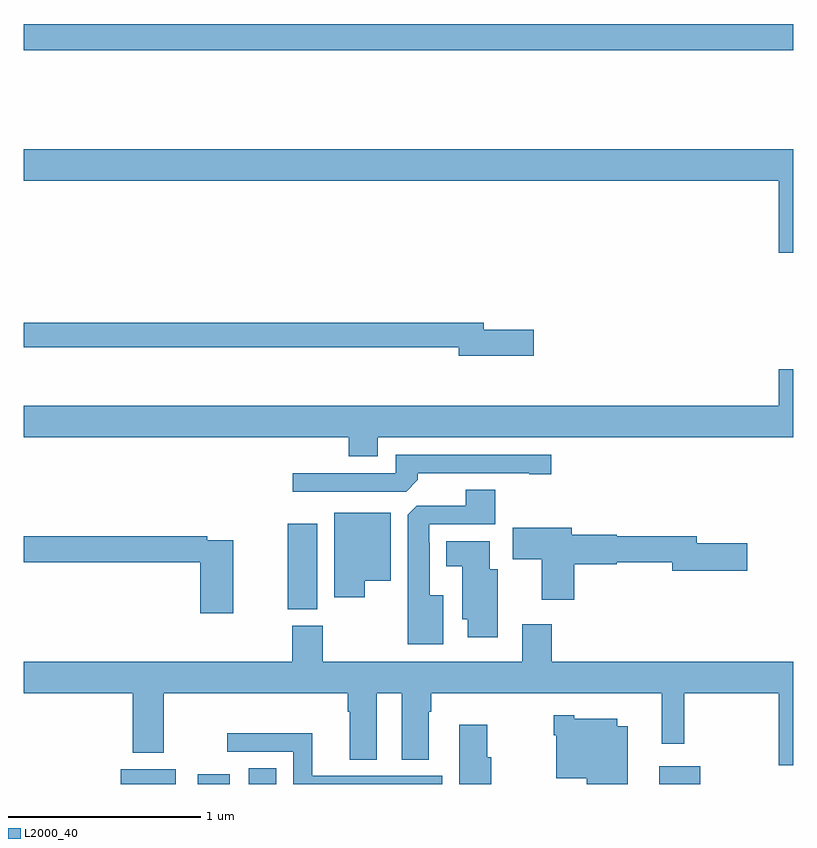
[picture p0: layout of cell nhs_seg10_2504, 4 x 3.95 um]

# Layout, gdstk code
import gdstk
lib = gdstk.Library(unit=1e-6, precision=1e-09)
def R(c, l, rs):  # rectangles x0, y0, x1, y1
    for r in rs: c.add(gdstk.rectangle(r[:2], r[2:], *l))
def P(c, l, *ps):  # polygons
    for p in ps: c.add(gdstk.Polygon(p, *l))
L2000_40 = (2000, 40)

nhs_seg10_2504 = lib.new_cell('nhs_seg10_2504')
R(nhs_seg10_2504, L2000_40, [(245.504,1310.5,245.791,1310.578), (245.903,1310.5,246.07,1310.551), (246.17,1310.5,246.313,1310.582), (248.303,1310.5,248.518,1310.593), (246.371,1311.409,246.526,1311.853), (245,1314.316,249,1314.452)])
P(nhs_seg10_2504, L2000_40, [(249,1313.8),(245,1313.8),(245,1313.636),(248.924,1313.636),(248.924,1313.262),(249,1313.262)],
  [(247.651,1312.862),(247.39,1312.862),(247.39,1312.898),(245,1312.898),(245,1312.77),(247.262,1312.77),(247.262,1312.727),(247.651,1312.727)],
  [(246.841,1312.304),(249,1312.304),(249,1312.657),(248.924,1312.657),(248.924,1312.468),(245,1312.468),(245,1312.304),(246.689,1312.304),(246.689,1312.205),(246.841,1312.205)],
  [(247.049,1312.082),(247.049,1312.116),(247.628,1312.116),(247.628,1312.111),(247.741,1312.111),(247.741,1312.212),(246.933,1312.212),(246.933,1312.116),(246.399,1312.116),(246.399,1312.02),(246.987,1312.02)],
  [(247.18,1311.481),(247.111,1311.481),(247.111,1311.755),(247.107,1311.755),(247.107,1311.852),(247.451,1311.852),(247.451,1312.031),(247.298,1312.031),(247.298,1311.948),(247.044,1311.948),(246.995,1311.899),(246.995,1311.227),(247.18,1311.227)],
  [(246.772,1311.557),(246.907,1311.557),(246.907,1311.91),(246.614,1311.91),(246.614,1311.471),(246.772,1311.471)],
  [(247.862,1311.644),(248.082,1311.644),(248.082,1311.652),(248.372,1311.652),(248.372,1311.61),(248.761,1311.61),(248.761,1311.752),(248.5,1311.752),(248.5,1311.788),(248.082,1311.788),(248.082,1311.796),(247.849,1311.796),(247.849,1311.832),(247.542,1311.832),(247.542,1311.67),(247.694,1311.67),(247.694,1311.459),(247.862,1311.459)],
  [(246.088,1311.768),(245.954,1311.768),(245.954,1311.788),(245,1311.788),(245,1311.652),(245.918,1311.652),(245.918,1311.387),(246.088,1311.387)],
  [(247.465,1311.616),(247.423,1311.616),(247.423,1311.763),(247.196,1311.763),(247.196,1311.632),(247.28,1311.632),(247.28,1311.357),(247.307,1311.357),(247.307,1311.264),(247.465,1311.264)],
  [(249,1311.136),(247.745,1311.136),(247.745,1311.331),(247.592,1311.331),(247.592,1311.136),(246.555,1311.136),(246.555,1311.324),(246.395,1311.324),(246.395,1311.136),(245,1311.136),(245,1310.972),(245.567,1310.972),(245.567,1310.663),(245.727,1310.663),(245.727,1310.972),(246.683,1310.972),(246.683,1310.876),(246.695,1310.876),(246.695,1310.627),(246.835,1310.627),(246.835,1310.972),(246.965,1310.972),(246.965,1310.627),(247.105,1310.627),(247.105,1310.876),(247.118,1310.876),(247.118,1310.972),(248.317,1310.972),(248.317,1310.709),(248.435,1310.709),(248.435,1310.972),(248.924,1310.972),(248.924,1310.598),(249,1310.598)],
  [(248.14,1310.8),(248.086,1310.8),(248.086,1310.839),(247.863,1310.839),(247.863,1310.857),(247.755,1310.857),(247.755,1310.753),(247.769,1310.753),(247.769,1310.531),(247.928,1310.531),(247.928,1310.5),(248.14,1310.5)],
  [(247.431,1310.64),(247.41,1310.64),(247.41,1310.809),(247.265,1310.809),(247.265,1310.5),(247.431,1310.5)],
  [(247.176,1310.542),(246.5,1310.542),(246.5,1310.765),(246.057,1310.765),(246.057,1310.667),(246.401,1310.667),(246.401,1310.5),(247.176,1310.5)])

lib.write_gds('nhs_seg10_2504.gds')
